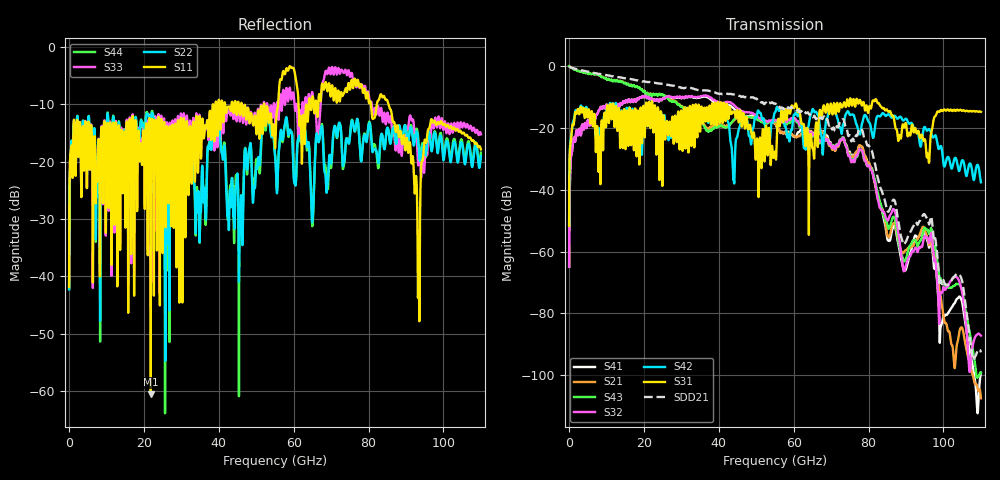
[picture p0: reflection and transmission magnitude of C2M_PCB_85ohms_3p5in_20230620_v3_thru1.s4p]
! Info: Touchstone file created by Circ.  Input file=C2M_PCB_85ohms_3p5in_20230620_v3.circ
# Hz S RI R 50
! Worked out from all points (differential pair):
!   11000 points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, 10 MHz to 110 GHz, reference 50 ohm
!   strongest paths, dB at 10 MHz, 27.51 GHz, 55.01 GHz, 82.51 GHz, 110 GHz:
!     S31: -51.7, -17.0, -27.7, -12.0, -14.8
!     S42: -51.5, -20.1, -15.0, -16.1, -37.6
!     S32: -64.9, -10.2, -17.5, -43.0, -87.2
!     S43: -0.1, -11.6, -17.8, -41.2, -99.2
!     S21: -0.1, -11.3, -18.5, -43.3, -107.4
!     S41: -64.9, -10.3, -18.6, -42.2, -99.1
!   taken as a pair (ports 3,1 in; 4,2 out), SDD21 dB: -0.1, -6.3, -12.1, -36.4, -92.6
!   lowest |S11| = -60.6 dB at 21.83 GHz (marker M1), VSWR 1.00, Z = 50.1 - j0.0087 ohm
!   |S11| at or under -10 dB: start of sweep to 38.41 GHz; 46.16 GHz to 52.03 GHz (5.869 GHz wide, 12 % of centre); 85.3 GHz to end of sweep (the widest 3 of 17)
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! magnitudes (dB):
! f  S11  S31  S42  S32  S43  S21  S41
! 10 MHz  -41.9  -51.7  -51.5  -64.9  -0.1  -0.1  -64.9
! 2.33 GHz  -14.3  -13.9  -14.2  -22.4  -1.6  -1.6  -22.3
! 21.83 GHz  -60.6  -17.5  -17.9  -10.4  -9.2  -9.1  -10.4
! 26.09 GHz  -13.9  -17.8  -17.9  -10.1  -10.3  -10.2  -10.1
! 77.95 GHz  -6.5  -11.8  -20.7  -27.2  -27.3  -25.9  -26.0
! 93.35 GHz  -36.1  -21.1  -22.4  -59.2  -57.4  -55.4  -55.2
! 110 GHz  -17.9  -14.8  -37.6  -87.2  -99.2  -107.4  -99.1
